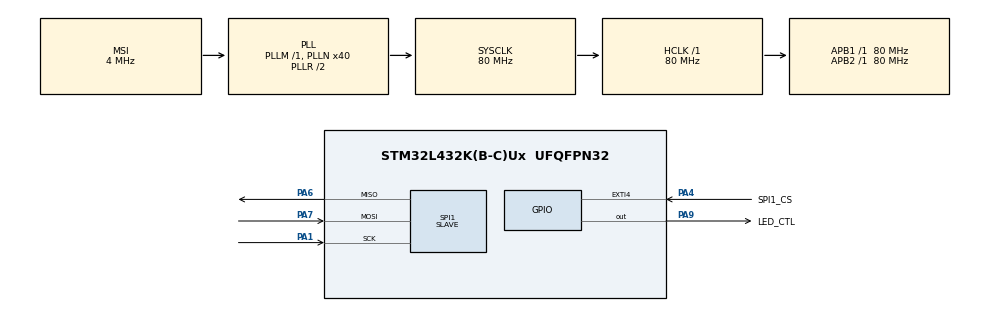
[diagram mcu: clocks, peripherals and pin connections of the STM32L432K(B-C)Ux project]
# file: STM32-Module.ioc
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Mcu.Family=STM32L4
Mcu.Name=STM32L432K(B-C)Ux
Mcu.Package=UFQFPN32
NVIC.EXTI4_IRQn=true\:0\:0\:false\:false\:true\:true\:true\:true
NVIC.PriorityGroup=NVIC_PRIORITYGROUP_4
PA1.Mode=Full_Duplex_Slave
PA1.Signal=SPI1_SCK
PA4.GPIO_Label=SPI1_CS
PA4.GPIO_ModeDefaultEXTI=GPIO_MODE_IT_FALLING
PA4.GPIO_PuPd=GPIO_PULLUP
PA4.Signal=GPXTI4
PA6.Mode=Full_Duplex_Slave
PA6.Signal=SPI1_MISO
PA7.Mode=Full_Duplex_Slave
PA7.Signal=SPI1_MOSI
PA9.GPIO_Label=LED_CTL
PA9.Signal=GPIO_Output
ProjectManager.HeapSize=0x200
ProjectManager.StackSize=0x400
ProjectManager.TargetToolchain=STM32CubeIDE
RCC.AHBFreq_Value=80000000
RCC.APB1Freq_Value=80000000
RCC.APB1TimFreq_Value=80000000
RCC.APB2Freq_Value=80000000
RCC.APB2TimFreq_Value=80000000
RCC.CortexFreq_Value=80000000
RCC.HCLKFreq_Value=80000000
RCC.HSE_VALUE=8000000
RCC.HSI48_VALUE=48000000
RCC.HSI_VALUE=16000000
RCC.LSE_VALUE=32768
RCC.MSI_VALUE=4000000
RCC.PLLN=40
RCC.SYSCLKFreq_VALUE=80000000
RCC.SYSCLKSource=RCC_SYSCLKSOURCE_PLLCLK
RCC.VCOOutputFreq_Value=160000000
SPI1.DataSize=SPI_DATASIZE_16BIT
SPI1.Direction=SPI_DIRECTION_2LINES
SPI1.Mode=SPI_MODE_SLAVE
SPI1.VirtualType=VM_SLAVE
board=custom

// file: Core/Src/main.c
/* USER CODE BEGIN Header */
/**
  ******************************************************************************
  * @file           : main.c
  * @brief          : Main program body
  ******************************************************************************
  * @attention
  *
  * Copyright (c) 2025 STMicroelectronics.
  * All rights reserved.
  *
  * This software is licensed under terms that can be found in the LICENSE file
  * in the root directory of this software component.
  * If no LICENSE file comes with this software, it is provided AS-IS.
  *
  ******************************************************************************
  */
/* USER CODE END Header */
#include "main.h"

SPI_HandleTypeDef hspi1;

/* USER CODE BEGIN PV */
uint8_t cmd_buffer = 0x00;
/* USER CODE END PV */

void SystemClock_Config(void);
static void MX_GPIO_Init(void);
static void MX_SPI1_Init(void);

int main(void)
{

  /* MCU Configuration--------------------------------------------------------*/

  /* Reset of all peripherals, Initializes the Flash interface and the Systick. */
  HAL_Init();

  /* Configure the system clock */
  SystemClock_Config();

  /* Initialize all configured peripherals */
  MX_GPIO_Init();
  MX_SPI1_Init();

  /* Infinite loop */
  /* USER CODE BEGIN WHILE */
  for (int i = 0; i < 5; i++) {
	  HAL_GPIO_WritePin(LED_CTL_GPIO_Port, LED_CTL_Pin, GPIO_PIN_SET);
	  HAL_Delay(100);
	  HAL_GPIO_WritePin(LED_CTL_GPIO_Port, LED_CTL_Pin, GPIO_PIN_RESET);
	  HAL_Delay(100);
  }

  while (1)
  {
    /* USER CODE END WHILE */

  }
}

void SystemClock_Config(void)
{
  RCC_OscInitTypeDef RCC_OscInitStruct = {0};
  RCC_ClkInitTypeDef RCC_ClkInitStruct = {0};

  /** Configure the main internal regulator output voltage
  */
  if (HAL_PWREx_ControlVoltageScaling(PWR_REGULATOR_VOLTAGE_SCALE1) != HAL_OK)
  {
    Error_Handler();
  }

  /** Initializes the RCC Oscillators according to the specified parameters
  * in the RCC_OscInitTypeDef structure.
  */
  RCC_OscInitStruct.OscillatorType = RCC_OSCILLATORTYPE_MSI;
  RCC_OscInitStruct.MSIState = RCC_MSI_ON;
  RCC_OscInitStruct.MSICalibrationValue = 0;
  RCC_OscInitStruct.MSIClockRange = RCC_MSIRANGE_6;
  RCC_OscInitStruct.PLL.PLLState = RCC_PLL_ON;
  RCC_OscInitStruct.PLL.PLLSource = RCC_PLLSOURCE_MSI;
  RCC_OscInitStruct.PLL.PLLM = 1;
  RCC_OscInitStruct.PLL.PLLN = 40;
  RCC_OscInitStruct.PLL.PLLP = RCC_PLLP_DIV7;
  RCC_OscInitStruct.PLL.PLLQ = RCC_PLLQ_DIV2;
  RCC_OscInitStruct.PLL.PLLR = RCC_PLLR_DIV2;
  if (HAL_RCC_OscConfig(&RCC_OscInitStruct) != HAL_OK)
  {
    Error_Handler();
  }

  /** Initializes the CPU, AHB and APB buses clocks
  */
  RCC_ClkInitStruct.ClockType = RCC_CLOCKTYPE_HCLK|RCC_CLOCKTYPE_SYSCLK
                              |RCC_CLOCKTYPE_PCLK1|RCC_CLOCKTYPE_PCLK2;
  RCC_ClkInitStruct.SYSCLKSource = RCC_SYSCLKSOURCE_PLLCLK;
  RCC_ClkInitStruct.AHBCLKDivider = RCC_SYSCLK_DIV1;
  RCC_ClkInitStruct.APB1CLKDivider = RCC_HCLK_DIV1;
  RCC_ClkInitStruct.APB2CLKDivider = RCC_HCLK_DIV1;

  if (HAL_RCC_ClockConfig(&RCC_ClkInitStruct, FLASH_LATENCY_4) != HAL_OK)
  {
    Error_Handler();
  }
}

static void MX_SPI1_Init(void)
{

  /* SPI1 parameter configuration*/
  hspi1.Instance = SPI1;
  hspi1.Init.Mode = SPI_MODE_SLAVE;
  hspi1.Init.Direction = SPI_DIRECTION_2LINES;
  hspi1.Init.DataSize = SPI_DATASIZE_8BIT;
  hspi1.Init.CLKPolarity = SPI_POLARITY_LOW;
  hspi1.Init.CLKPhase = SPI_PHASE_1EDGE;
  hspi1.Init.NSS = SPI_NSS_SOFT;
  hspi1.Init.FirstBit = SPI_FIRSTBIT_MSB;
  hspi1.Init.TIMode = SPI_TIMODE_DISABLE;
  hspi1.Init.CRCCalculation = SPI_CRCCALCULATION_DISABLE;
  hspi1.Init.CRCPolynomial = 7;
  hspi1.Init.CRCLength = SPI_CRC_LENGTH_DATASIZE;
  hspi1.Init.NSSPMode = SPI_NSS_PULSE_DISABLE;
  if (HAL_SPI_Init(&hspi1) != HAL_OK)
  {
    Error_Handler();
  }

}

static void MX_GPIO_Init(void)
{
  GPIO_InitTypeDef GPIO_InitStruct = {0};

  /* GPIO Ports Clock Enable */
  __HAL_RCC_GPIOA_CLK_ENABLE();

  /*Configure GPIO pin Output Level */
  HAL_GPIO_WritePin(LED_CTL_GPIO_Port, LED_CTL_Pin, GPIO_PIN_RESET);

  /*Configure GPIO pin : SPI1_CS_Pin */
  GPIO_InitStruct.Pin = SPI1_CS_Pin;
  GPIO_InitStruct.Mode = GPIO_MODE_IT_FALLING;
  GPIO_InitStruct.Pull = GPIO_PULLUP;
  HAL_GPIO_Init(SPI1_CS_GPIO_Port, &GPIO_InitStruct);

  /*Configure GPIO pin : LED_CTL_Pin */
  GPIO_InitStruct.Pin = LED_CTL_Pin;
  GPIO_InitStruct.Mode = GPIO_MODE_OUTPUT_PP;
  GPIO_InitStruct.Pull = GPIO_NOPULL;
  GPIO_InitStruct.Speed = GPIO_SPEED_FREQ_LOW;
  HAL_GPIO_Init(LED_CTL_GPIO_Port, &GPIO_InitStruct);

  /* EXTI interrupt init*/
  HAL_NVIC_SetPriority(EXTI4_IRQn, 0, 0);
  HAL_NVIC_EnableIRQ(EXTI4_IRQn);

}

/* USER CODE BEGIN 4 */
void HAL_GPIO_EXTI_Callback(uint16_t GPIO_Pin) {
	switch (GPIO_Pin) {
		case SPI1_CS_Pin:
			HAL_SPI_Receive(&hspi1, &cmd_buffer, sizeof(uint8_t), HAL_MAX_DELAY);

			switch (cmd_buffer & 0xFF) {
				case 0x01:
					HAL_GPIO_WritePin(LED_CTL_GPIO_Port, LED_CTL_Pin, GPIO_PIN_SET);
					break;
				case 0x02:
					HAL_GPIO_WritePin(LED_CTL_GPIO_Port, LED_CTL_Pin, GPIO_PIN_RESET);
					break;
				default:
					break;
			}

			break;
		default:
			break;
	}
}
/* USER CODE END 4 */

void Error_Handler(void)
{
  __disable_irq();
  while (1)
  {
  }
}
